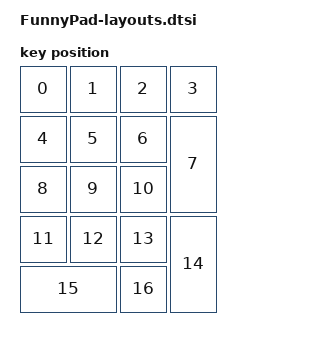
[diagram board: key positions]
#include <layouts/common/numpad/position_map.dtsi>
#include <physical_layouts.dtsi>

/ {
    physical_layout0: physical_layout0 {
        compatible = "zmk,physical-layout";
        display-name = "FunnyPad";
        kscan = <&kscan0>;
        transform = <&default_transform>;

        keys  //                     w   h    x    y     rot    rx    ry
            = <&key_physical_attrs 100 100    0    0       0     0     0>
            , <&key_physical_attrs 100 100  100    0       0     0     0>
            , <&key_physical_attrs 100 100  200    0       0     0     0>
            , <&key_physical_attrs 100 100  300    0       0     0     0>
            , <&key_physical_attrs 100 100    0  100       0     0     0>
            , <&key_physical_attrs 100 100  100  100       0     0     0>
            , <&key_physical_attrs 100 100  200  100       0     0     0>
            , <&key_physical_attrs 100 200  300  100       0     0     0>
            , <&key_physical_attrs 100 100    0  200       0     0     0>
            , <&key_physical_attrs 100 100  100  200       0     0     0>
            , <&key_physical_attrs 100 100  200  200       0     0     0>
            , <&key_physical_attrs 100 100    0  300       0     0     0>
            , <&key_physical_attrs 100 100  100  300       0     0     0>
            , <&key_physical_attrs 100 100  200  300       0     0     0>
            , <&key_physical_attrs 100 200  300  300       0     0     0>
            , <&key_physical_attrs 200 100    0  400       0     0     0>
            , <&key_physical_attrs 100 100  200  400       0     0     0>
            ;
    };

    position_map {
        compatible = "zmk,physical-layout-position-map";

        physical_layout0 {
            physical-layout = <&physical_layout0>;
            positions
                = < 0  1  2  3>
                , < 4  5  6   >
                , < 7  8  9 10>
                , <11 12 13   >
                , <   14 15 16>;
        };
    };
};
